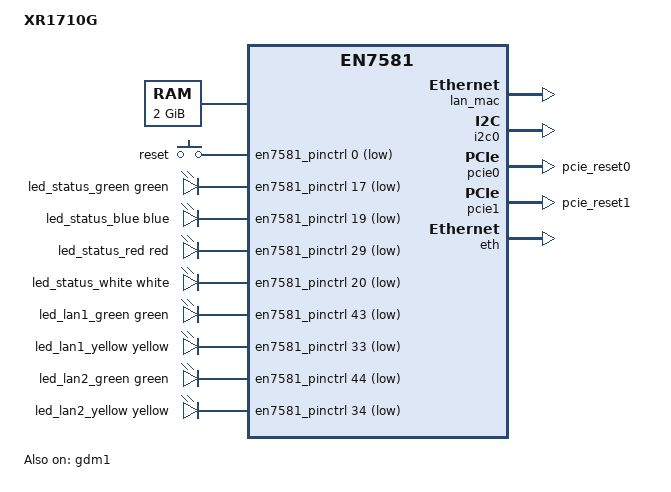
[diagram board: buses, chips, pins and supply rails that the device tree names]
// SPDX-License-Identifier: (GPL-2.0-only OR BSD-2-Clause)
/dts-v1/;

/* Bootloader installs ATF here */
/memreserve/ 0x80000000 0x200000;

#include <dt-bindings/gpio/gpio.h>
#include <dt-bindings/input/input.h>
#include <dt-bindings/interrupt-controller/irq.h>
#include <dt-bindings/leds/common.h>
#include "en7581.dtsi"

/ {
	model = "XR1710G";
	compatible = "econet,xr1710g", "econet,xr1710g-ubi",
		     "gemtek,xr1710g", "gemtek,xr1710g-ubi",
		     "econet,en7581", "airoha,an7581",
		     "airoha,en7581";
	recovery-gpios = <&en7581_pinctrl 0 GPIO_ACTIVE_LOW>;
	recovery-green-led-gpios = <&en7581_pinctrl 43 GPIO_ACTIVE_LOW>,
				   <&en7581_pinctrl 44 GPIO_ACTIVE_LOW>;
	recovery-yellow-led-gpios = <&en7581_pinctrl 33 GPIO_ACTIVE_LOW>,
				    <&en7581_pinctrl 34 GPIO_ACTIVE_LOW>;

	aliases {
		serial0 = &uart1;
		led-boot = &led_status_red;
		led-failsafe = &led_status_blue;
		led-upgrade = &led_status_blue;
		led-running = &led_status_green;
	};

	chosen {
		rootdisk = <&ubi_rootfs>;
		bootargs = "console=ttyS0,115200 earlycon ubi.block=0,fit root=/dev/fit0 rootwait";
		stdout-path = "serial0:115200n8";
		linux,usable-memory-range = <0x0 0x80200000 0x0 0x7fe00000>;
	};

	memory@80000000 {
		device_type = "memory";
		reg = <0x0 0x80000000 0x0 0x80000000>;
	};

	keys {
		compatible = "gpio-keys";

		key-restart {
			label = "reset";
			gpios = <&en7581_pinctrl 0 GPIO_ACTIVE_LOW>;
			linux,code = <KEY_RESTART>;
		};
	};

	leds {
		compatible = "gpio-leds";

		led_status_green: led-status-green {
			color = <LED_COLOR_ID_GREEN>;
			function = LED_FUNCTION_STATUS;
			gpios = <&en7581_pinctrl 17 GPIO_ACTIVE_LOW>;
		};

		led_status_blue: led-status-blue {
			color = <LED_COLOR_ID_BLUE>;
			function = LED_FUNCTION_STATUS;
			gpios = <&en7581_pinctrl 19 GPIO_ACTIVE_LOW>;
		};

		led_status_red: led-status-red {
			color = <LED_COLOR_ID_RED>;
			function = LED_FUNCTION_STATUS;
			gpios = <&en7581_pinctrl 29 GPIO_ACTIVE_LOW>;
			default-state = "on";
		};

		led_status_white: led-status-white {
			color = <LED_COLOR_ID_WHITE>;
			function = LED_FUNCTION_STATUS;
			gpios = <&en7581_pinctrl 20 GPIO_ACTIVE_LOW>;
		};

		led_lan1_green: led-lan1-green {
			color = <LED_COLOR_ID_GREEN>;
			function = LED_FUNCTION_LAN;
			function-enumerator = <1>;
			gpios = <&en7581_pinctrl 43 GPIO_ACTIVE_LOW>;
		};

		led_lan1_yellow: led-lan1-yellow {
			color = <LED_COLOR_ID_YELLOW>;
			function = LED_FUNCTION_LAN;
			function-enumerator = <1>;
			gpios = <&en7581_pinctrl 33 GPIO_ACTIVE_LOW>;
		};

		led_lan2_green: led-lan2-green {
			color = <LED_COLOR_ID_GREEN>;
			function = LED_FUNCTION_LAN;
			function-enumerator = <2>;
			gpios = <&en7581_pinctrl 44 GPIO_ACTIVE_LOW>;
		};

		led_lan2_yellow: led-lan2-yellow {
			color = <LED_COLOR_ID_YELLOW>;
			function = LED_FUNCTION_LAN;
			function-enumerator = <2>;
			gpios = <&en7581_pinctrl 34 GPIO_ACTIVE_LOW>;
		};
	};
};

&en7581_pinctrl {
	gpio-ranges = <&en7581_pinctrl 0 13 47>;

	mdio_pins: mdio-pins {
		mux {
			function = "mdio";
			groups = "mdio";
		};

		conf {
			pins = "gpio2";
			output-high;
		};
	};

	pcie0_rst_pins: pcie0-rst-pins {
		conf {
			pins = "pcie_reset0";
			drive-open-drain = <1>;
		};
	};

	pcie1_rst_pins: pcie1-rst-pins {
		conf {
			pins = "pcie_reset1";
			drive-open-drain = <1>;
		};
	};
};

&spi_nand {
	#address-cells = <1>;
	#size-cells = <1>;

	partitions {
		compatible = "fixed-partitions";
		#address-cells = <1>;
		#size-cells = <1>;

		partition@0 {
			label = "vendor";
			reg = <0x00000000 0x00600000>;
			read-only;
		};

		partition@600000 {
			label = "chainloader";
			reg = <0x00600000 0x00100000>;
			read-only;
		};

				partition@700000 {
					label = "ubi";
					reg = <0x00700000 0x1d9c0000>;
					compatible = "linux,ubi";

				volumes {
					ubi-volume-ubootenv {
						volname = "ubootenv";

					nvmem-layout {
						compatible = "u-boot,env-redundant-bool";
					};
				};

					ubi-volume-ubootenv2 {
						volname = "ubootenv2";

						nvmem-layout {
							compatible = "u-boot,env-redundant-bool";
						};
					};

					ubi-volume-uboot {
						volname = "uboot";
					};

					ubi_rootfs: ubi-volume-fit {
						volname = "fit";
					};

					ubi_factory: ubi-volume-factory {
						volname = "factory";
					};
				};
			};

				/*
				 * Reserve the final 250 eraseblocks for the stock
				 * bootloader's BMT/BBT handling on the 512 MiB
				 * SPI-NAND.
				 */
				reserved_bmt@1e0c0000 {
					label = "reserved_bmt";
					reg = <0x1e0c0000 0x01f40000>;
					read-only;
				};
		};
	};

&ubi_factory {
	nvmem-layout {
		compatible = "fixed-layout";
		#address-cells = <1>;
		#size-cells = <1>;

		eeprom: eeprom@0 {
			reg = <0x0 0x1e00>;
		};

		wan_mac: macaddr@5000 {
			reg = <0x5000 0x6>;
		};

		lan_mac: macaddr@6000 {
			compatible = "mac-base";
			reg = <0x6000 0x6>;
			#nvmem-cell-cells = <1>;
		};
	};
};

&i2c0 {
	status = "okay";
};

&pcie0 {
	status = "okay";
	pinctrl-names = "default";
	pinctrl-0 = <&pcie0_rst_pins>;
};

&pcie1 {
	status = "okay";
	pinctrl-names = "default";
	pinctrl-0 = <&pcie1_rst_pins>;
};

&eth {
	status = "okay";
};

&gdm1 {
	status = "okay";
};
